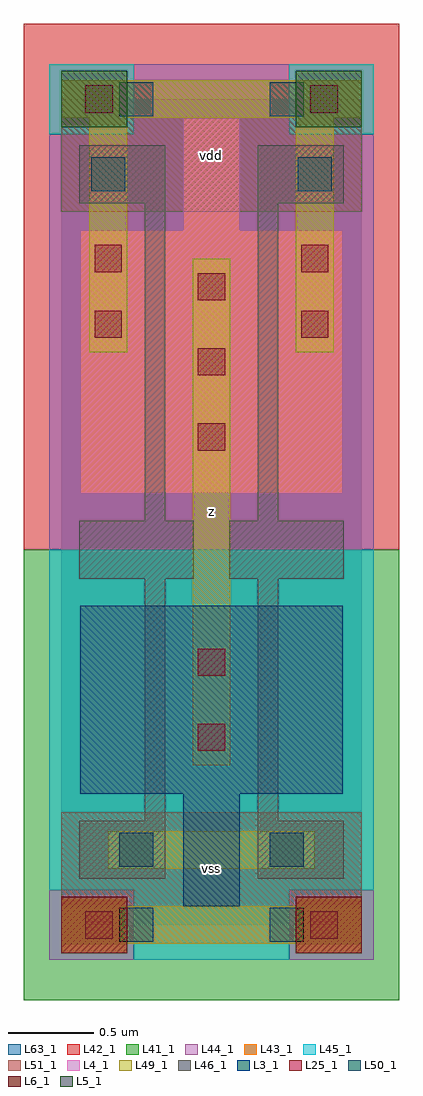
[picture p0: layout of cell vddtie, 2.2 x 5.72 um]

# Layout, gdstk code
import gdstk
lib = gdstk.Library(unit=1e-6, precision=1e-09)
def R(c, l, rs):  # rectangles x0, y0, x1, y1
    for r in rs: c.add(gdstk.rectangle(r[:2], r[2:], *l))
def A(c, l, x, y, w, h, nx, ny, dx, dy):  # array of equal rectangles
    R(c, l, [(x+i*dx, y+j*dy, x+i*dx+w, y+j*dy+h) for i in range(nx) for j in range(ny)])
L3_1 = (3, 1)
L4_1 = (4, 1)
L5_1 = (5, 1)
L6_1 = (6, 1)
L25_1 = (25, 1)
L41_1 = (41, 1)
L42_1 = (42, 1)
L43_1 = (43, 1)
L44_1 = (44, 1)
L45_1 = (45, 1)
L46_1 = (46, 1)
L49_1 = (49, 1)
L50_1 = (50, 1)
L51_1 = (51, 1)
L63_1 = (63, 1)

vddtie = lib.new_cell('vddtie')
R(vddtie, L3_1, [(0.715,0.11,1.045,0.77), (0.11,0.77,1.65,1.87)])
R(vddtie, L4_1, [(0.11,2.53,1.65,4.07), (0.715,4.07,1.045,4.73)])
R(vddtie, L5_1, [(0,4.675,0.385,5.005), (1.375,4.675,1.76,5.005)])
R(vddtie, L6_1, [(0,-0.165,0.385,0.165), (1.375,-0.165,1.76,0.165)])
A(vddtie, L25_1, 0.8, 2.78, 0.16, 0.16, 1, 3, 0, 0.44)
R(vddtie, L25_1, [(0.14,-0.08,0.3,0.08), (1.46,-0.08,1.62,0.08), (0.8,1.02,0.96,1.18), (0.8,1.46,0.96,1.62), (0.195,3.44,0.355,3.6), (1.405,3.44,1.565,3.6), (0.195,3.825,0.355,3.985), (1.405,3.825,1.565,3.985), (0.14,4.76,0.3,4.92), (1.46,4.76,1.62,4.92)])
R(vddtie, L41_1, [(-0.22,-0.44,1.98,2.2)])
R(vddtie, L42_1, [(-0.22,2.2,1.98,5.28)])
R(vddtie, L43_1, [(0,-0.165,0.385,0.165), (1.375,-0.165,1.76,0.165), (0.715,0.11,1.045,0.77), (0.11,0.77,1.65,1.87), (0.11,2.53,1.65,4.07), (0.715,4.07,1.045,4.73), (0,4.675,0.385,5.005), (1.375,4.675,1.76,5.005)])
R(vddtie, L44_1, [(-0.07,-0.205,0.425,0.205), (1.335,-0.205,1.83,0.205), (-0.07,2.2,1.83,4.635), (0.425,4.635,1.335,5.045)])
R(vddtie, L45_1, [(0.425,-0.205,1.335,0.205), (-0.07,0.205,1.83,2.2), (-0.07,4.635,0.425,5.045), (1.335,4.635,1.83,5.045)])
R(vddtie, L46_1, [(0.105,0.27,0.61,0.61), (1.15,0.27,1.655,0.61), (0.49,0.61,0.61,2.03), (1.15,0.61,1.27,2.03), (0.105,2.03,0.775,2.37), (0.985,2.03,1.655,2.37), (0.49,2.37,0.61,4.23), (1.15,2.37,1.27,4.23), (0.105,4.23,0.61,4.57), (1.15,4.23,1.655,4.57)])
R(vddtie, L49_1, [(0,-0.11,1.76,0.11), (0.275,0.33,1.485,0.55), (0.77,0.935,0.99,3.905), (0.165,3.355,0.385,4.73), (1.375,3.355,1.595,4.73), (0,4.73,1.76,4.95)])
R(vddtie, L50_1, [(0.34,-0.1,0.54,0.1), (1.22,-0.1,1.42,0.1), (0.34,0.34,0.54,0.54), (1.22,0.34,1.42,0.54), (0.175,4.3,0.375,4.5), (1.385,4.3,1.585,4.5), (0.34,4.74,0.54,4.94), (1.22,4.74,1.42,4.94)])
R(vddtie, L51_1, [(0,-0.11,1.76,0.66), (0,4.18,1.76,4.95)])
R(vddtie, L63_1, [(0,0,1.76,4.84)])
vddtie.add(gdstk.Label('z', (0.88,2.42), layer=49, texttype=1))
vddtie.add(gdstk.Label('vss', (0.88,0.33), layer=51, texttype=1))
vddtie.add(gdstk.Label('vdd', (0.88,4.51), layer=51, texttype=1))

lib.write_gds('vddtie.gds')
